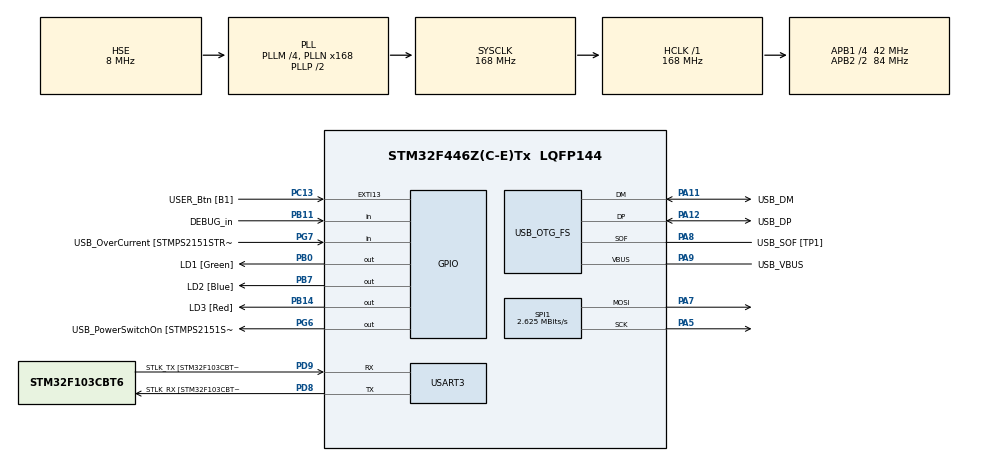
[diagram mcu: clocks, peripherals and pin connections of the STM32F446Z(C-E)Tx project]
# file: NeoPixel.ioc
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Dma.Request0=SPI1_TX
Dma.SPI1_TX.0.Direction=DMA_MEMORY_TO_PERIPH
Dma.SPI1_TX.0.FIFOMode=DMA_FIFOMODE_DISABLE
Dma.SPI1_TX.0.Instance=DMA2_Stream3
Dma.SPI1_TX.0.MemDataAlignment=DMA_MDATAALIGN_BYTE
Dma.SPI1_TX.0.MemInc=DMA_MINC_ENABLE
Dma.SPI1_TX.0.Mode=DMA_NORMAL
Dma.SPI1_TX.0.PeriphDataAlignment=DMA_PDATAALIGN_BYTE
Dma.SPI1_TX.0.PeriphInc=DMA_PINC_DISABLE
Dma.SPI1_TX.0.Priority=DMA_PRIORITY_LOW
Mcu.Family=STM32F4
Mcu.Name=STM32F446Z(C-E)Tx
Mcu.Package=LQFP144
NVIC.DMA2_Stream3_IRQn=true\:0\:0\:false\:false\:true\:false\:true
NVIC.EXTI15_10_IRQn=true\:0\:0\:true\:false\:true\:true\:true
NVIC.PriorityGroup=NVIC_PRIORITYGROUP_4
NVIC.TIM2_IRQn=true\:1\:0\:true\:false\:true\:true\:true
PA10.GPIO_Label=USB_ID
PA10.Signal=USB_OTG_FS_ID
PA11.GPIO_Label=USB_DM
PA11.Mode=Device_Only
PA11.Signal=USB_OTG_FS_DM
PA12.GPIO_Label=USB_DP
PA12.Mode=Device_Only
PA12.Signal=USB_OTG_FS_DP
PA13.GPIO_Label=TMS
PA13.Mode=Serial_Wire
PA13.Signal=SYS_JTMS-SWDIO
PA14.GPIO_Label=TCK
PA14.Mode=Serial_Wire
PA14.Signal=SYS_JTCK-SWCLK
PA5.Mode=TX_Only_Simplex_Unidirect_Master
PA5.Signal=SPI1_SCK
PA7.Mode=TX_Only_Simplex_Unidirect_Master
PA7.Signal=SPI1_MOSI
PA8.GPIO_Label=USB_SOF [TP1]
PA8.Mode=Activate_SOF_FS
PA8.Signal=USB_OTG_FS_SOF
PA9.GPIO_Label=USB_VBUS
PA9.Mode=Activate_VBUS
PA9.Signal=USB_OTG_FS_VBUS
PB0.GPIO_Label=LD1 [Green]
PB0.Signal=GPIO_Output
PB11.GPIO_Label=DEBUG_in
PB11.Signal=GPIO_Input
PB14.GPIO_Label=LD3 [Red]
PB14.Signal=GPIO_Output
PB7.GPIO_Label=LD2 [Blue]
PB7.Signal=GPIO_Output
PC13.GPIO_Label=USER_Btn [B1]
PC13.Signal=GPXTI13
PC14-OSC32_IN.Mode=LSE-External-Oscillator
PC14-OSC32_IN.Signal=RCC_OSC32_IN
PC15-OSC32_OUT.Mode=LSE-External-Oscillator
PC15-OSC32_OUT.Signal=RCC_OSC32_OUT
PD8.GPIO_Label=STLK_RX [STM32F103CBT6_PA3]
PD8.Mode=Asynchronous
PD8.Signal=USART3_TX
PD9.GPIO_Label=STLK_TX [STM32F103CBT6_PA2]
PD9.Mode=Asynchronous
PD9.Signal=USART3_RX
PG6.GPIO_Label=USB_PowerSwitchOn [STMPS2151STR_EN]
PG6.Signal=GPIO_Output
PG7.GPIO_Label=USB_OverCurrent [STMPS2151STR_FAULT]
PG7.Signal=GPIO_Input
PH0-OSC_IN.GPIO_Label=MCO [STM32F103CBT6_PA8]
PH0-OSC_IN.Mode=HSE-External-Clock-Source
PH0-OSC_IN.Signal=RCC_OSC_IN
PH1-OSC_OUT.Mode=HSE-External-Clock-Source
PH1-OSC_OUT.Signal=RCC_OSC_OUT
ProjectManager.HeapSize=0x200
ProjectManager.StackSize=0x400
ProjectManager.TargetToolchain=STM32CubeIDE
RCC.48MHZClocksFreq_Value=24000000
RCC.AHBFreq_Value=168000000
RCC.APB1CLKDivider=RCC_HCLK_DIV4
RCC.APB1Freq_Value=42000000
RCC.APB1TimFreq_Value=84000000
RCC.APB2CLKDivider=RCC_HCLK_DIV2
RCC.APB2Freq_Value=84000000
RCC.APB2TimFreq_Value=168000000
RCC.CortexFreq_Value=168000000
RCC.HCLKFreq_Value=168000000
RCC.HSE_VALUE=8000000
RCC.HSI_VALUE=16000000
RCC.PLLM=4
RCC.PLLMUL=RCC_PLL_MUL9
RCC.PLLN=168
RCC.PLLQ=7
RCC.PRESCALERUSB=RCC_USBCLKSOURCE_PLL_DIV1_5
RCC.SYSCLKFreq_VALUE=168000000
RCC.SYSCLKSource=RCC_SYSCLKSOURCE_PLLCLK
RCC.SYSCLKSourceVirtual=RCC_SYSCLKSOURCE_PLLCLK
RCC.USBFreq_Value=48000000
RCC.VCOOutputFreq_Value=336000000
SPI1.BaudRatePrescaler=SPI_BAUDRATEPRESCALER_32
SPI1.CalculateBaudRate=2.625 MBits/s
SPI1.DataSize=SPI_DATASIZE_8BIT
SPI1.Direction=SPI_DIRECTION_2LINES
SPI1.Mode=SPI_MODE_MASTER
SPI1.VirtualType=VM_MASTER
TIM2.AutoReloadPreload=TIM_AUTORELOAD_PRELOAD_ENABLE
TIM2.Period=8400
USART3.VirtualMode=VM_ASYNC
USB_OTG_FS.VirtualMode=Device_Only
VP_TIM2_VS_ClockSourceINT.Mode=Internal
board=NUCLEO-F446ZE

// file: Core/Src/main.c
/* USER CODE BEGIN Header */
/**
  ******************************************************************************
  * @file           : main.c
  * @brief          : Main program body
  ******************************************************************************
  * @attention
  *
  * <h2><center>&copy; Copyright (c) 2020 STMicroelectronics.
  * All rights reserved.</center></h2>
  *
  * This software component is licensed by ST under BSD 3-Clause license,
  * the "License"; You may not use this file except in compliance with the
  * License. You may obtain a copy of the License at:
  *                        opensource.org/licenses/BSD-3-Clause
  *
  ******************************************************************************
  */
/* USER CODE END Header */

#include "main.h"

/* USER CODE BEGIN Includes */
#include "NeoPixel.h"
/* USER CODE END Includes */

/* USER CODE BEGIN PD */
#define NUM_PIXEL	35
/* USER CODE END PD */

SPI_HandleTypeDef hspi1;
DMA_HandleTypeDef hdma_spi1_tx;

TIM_HandleTypeDef htim2;

UART_HandleTypeDef huart3;

PCD_HandleTypeDef hpcd_USB_OTG_FS;

/* USER CODE BEGIN PV */
s_NeoPixel_t *sp_NeoPixel_head = NULL;
s_NeoPixel_buffer_t s_NeoPixel_buffer;
/* USER CODE END PV */

void SystemClock_Config(void);
static void MX_GPIO_Init(void);
static void MX_DMA_Init(void);
static void MX_USART3_UART_Init(void);
static void MX_USB_OTG_FS_PCD_Init(void);
static void MX_SPI1_Init(void);
static void MX_TIM2_Init(void);

int main(void)
{

  /* MCU Configuration--------------------------------------------------------*/

  /* Reset of all peripherals, Initializes the Flash interface and the Systick. */
  HAL_Init();

  /* Configure the system clock */
  SystemClock_Config();

  /* Initialize all configured peripherals */
  MX_GPIO_Init();
  MX_DMA_Init();
  MX_USART3_UART_Init();
  MX_USB_OTG_FS_PCD_Init();
  MX_SPI1_Init();
  MX_TIM2_Init();
  /* USER CODE BEGIN 2 */
  e_NeoPixel_init(NUM_PIXEL, e_SK6812_WWA, &sp_NeoPixel_head, &s_NeoPixel_buffer);
  e_NeoPixel_write(sp_NeoPixel_head, &s_NeoPixel_buffer);

  /* USER CODE END 2 */

  /* Infinite loop */
  /* USER CODE BEGIN WHILE */
  while (1)
  {
	  e_NeoPixel_write(sp_NeoPixel_head, &s_NeoPixel_buffer);
	  HAL_SPI_Transmit_DMA(&hspi1, s_NeoPixel_buffer.u8_Buffer, s_NeoPixel_buffer.size);
    /* USER CODE END WHILE */

  }
}

void SystemClock_Config(void)
{
  RCC_OscInitTypeDef RCC_OscInitStruct = {0};
  RCC_ClkInitTypeDef RCC_ClkInitStruct = {0};
  RCC_PeriphCLKInitTypeDef PeriphClkInitStruct = {0};

  /** Configure the main internal regulator output voltage
  */
  __HAL_RCC_PWR_CLK_ENABLE();
  __HAL_PWR_VOLTAGESCALING_CONFIG(PWR_REGULATOR_VOLTAGE_SCALE1);
  /** Initializes the CPU, AHB and APB busses clocks
  */
  RCC_OscInitStruct.OscillatorType = RCC_OSCILLATORTYPE_HSE;
  RCC_OscInitStruct.HSEState = RCC_HSE_BYPASS;
  RCC_OscInitStruct.PLL.PLLState = RCC_PLL_ON;
  RCC_OscInitStruct.PLL.PLLSource = RCC_PLLSOURCE_HSE;
  RCC_OscInitStruct.PLL.PLLM = 4;
  RCC_OscInitStruct.PLL.PLLN = 168;
  RCC_OscInitStruct.PLL.PLLP = RCC_PLLP_DIV2;
  RCC_OscInitStruct.PLL.PLLQ = 7;
  RCC_OscInitStruct.PLL.PLLR = 2;
  if (HAL_RCC_OscConfig(&RCC_OscInitStruct) != HAL_OK)
  {
    Error_Handler();
  }
  /** Initializes the CPU, AHB and APB busses clocks
  */
  RCC_ClkInitStruct.ClockType = RCC_CLOCKTYPE_HCLK|RCC_CLOCKTYPE_SYSCLK
                              |RCC_CLOCKTYPE_PCLK1|RCC_CLOCKTYPE_PCLK2;
  RCC_ClkInitStruct.SYSCLKSource = RCC_SYSCLKSOURCE_PLLCLK;
  RCC_ClkInitStruct.AHBCLKDivider = RCC_SYSCLK_DIV1;
  RCC_ClkInitStruct.APB1CLKDivider = RCC_HCLK_DIV4;
  RCC_ClkInitStruct.APB2CLKDivider = RCC_HCLK_DIV2;

  if (HAL_RCC_ClockConfig(&RCC_ClkInitStruct, FLASH_LATENCY_5) != HAL_OK)
  {
    Error_Handler();
  }
  PeriphClkInitStruct.PeriphClockSelection = RCC_PERIPHCLK_CLK48;
  PeriphClkInitStruct.Clk48ClockSelection = RCC_CLK48CLKSOURCE_PLLQ;
  if (HAL_RCCEx_PeriphCLKConfig(&PeriphClkInitStruct) != HAL_OK)
  {
    Error_Handler();
  }
}

static void MX_SPI1_Init(void)
{

  /* SPI1 parameter configuration*/
  hspi1.Instance = SPI1;
  hspi1.Init.Mode = SPI_MODE_MASTER;
  hspi1.Init.Direction = SPI_DIRECTION_2LINES;
  hspi1.Init.DataSize = SPI_DATASIZE_8BIT;
  hspi1.Init.CLKPolarity = SPI_POLARITY_LOW;
  hspi1.Init.CLKPhase = SPI_PHASE_1EDGE;
  hspi1.Init.NSS = SPI_NSS_SOFT;
  hspi1.Init.BaudRatePrescaler = SPI_BAUDRATEPRESCALER_32;
  hspi1.Init.FirstBit = SPI_FIRSTBIT_MSB;
  hspi1.Init.TIMode = SPI_TIMODE_DISABLE;
  hspi1.Init.CRCCalculation = SPI_CRCCALCULATION_DISABLE;
  hspi1.Init.CRCPolynomial = 10;
  if (HAL_SPI_Init(&hspi1) != HAL_OK)
  {
    Error_Handler();
  }

}

static void MX_TIM2_Init(void)
{

  TIM_ClockConfigTypeDef sClockSourceConfig = {0};
  TIM_MasterConfigTypeDef sMasterConfig = {0};

  htim2.Instance = TIM2;
  htim2.Init.Prescaler = 32;
  htim2.Init.CounterMode = TIM_COUNTERMODE_UP;
  htim2.Init.Period = 8400;
  htim2.Init.ClockDivision = TIM_CLOCKDIVISION_DIV1;
  htim2.Init.AutoReloadPreload = TIM_AUTORELOAD_PRELOAD_ENABLE;
  if (HAL_TIM_Base_Init(&htim2) != HAL_OK)
  {
    Error_Handler();
  }
  sClockSourceConfig.ClockSource = TIM_CLOCKSOURCE_INTERNAL;
  if (HAL_TIM_ConfigClockSource(&htim2, &sClockSourceConfig) != HAL_OK)
  {
    Error_Handler();
  }
  sMasterConfig.MasterOutputTrigger = TIM_TRGO_RESET;
  sMasterConfig.MasterSlaveMode = TIM_MASTERSLAVEMODE_DISABLE;
  if (HAL_TIMEx_MasterConfigSynchronization(&htim2, &sMasterConfig) != HAL_OK)
  {
    Error_Handler();
  }

}

static void MX_USART3_UART_Init(void)
{

  huart3.Instance = USART3;
  huart3.Init.BaudRate = 115200;
  huart3.Init.WordLength = UART_WORDLENGTH_8B;
  huart3.Init.StopBits = UART_STOPBITS_1;
  huart3.Init.Parity = UART_PARITY_NONE;
  huart3.Init.Mode = UART_MODE_TX_RX;
  huart3.Init.HwFlowCtl = UART_HWCONTROL_NONE;
  huart3.Init.OverSampling = UART_OVERSAMPLING_16;
  if (HAL_UART_Init(&huart3) != HAL_OK)
  {
    Error_Handler();
  }

}

static void MX_USB_OTG_FS_PCD_Init(void)
{

  hpcd_USB_OTG_FS.Instance = USB_OTG_FS;
  hpcd_USB_OTG_FS.Init.dev_endpoints = 6;
  hpcd_USB_OTG_FS.Init.speed = PCD_SPEED_FULL;
  hpcd_USB_OTG_FS.Init.dma_enable = DISABLE;
  hpcd_USB_OTG_FS.Init.phy_itface = PCD_PHY_EMBEDDED;
  hpcd_USB_OTG_FS.Init.Sof_enable = ENABLE;
  hpcd_USB_OTG_FS.Init.low_power_enable = DISABLE;
  hpcd_USB_OTG_FS.Init.lpm_enable = DISABLE;
  hpcd_USB_OTG_FS.Init.vbus_sensing_enable = ENABLE;
  hpcd_USB_OTG_FS.Init.use_dedicated_ep1 = DISABLE;
  if (HAL_PCD_Init(&hpcd_USB_OTG_FS) != HAL_OK)
  {
    Error_Handler();
  }

}

static void MX_DMA_Init(void)
{

  /* DMA controller clock enable */
  __HAL_RCC_DMA2_CLK_ENABLE();

  /* DMA interrupt init */
  /* DMA2_Stream3_IRQn interrupt configuration */
  HAL_NVIC_SetPriority(DMA2_Stream3_IRQn, 0, 0);
  HAL_NVIC_EnableIRQ(DMA2_Stream3_IRQn);

}

static void MX_GPIO_Init(void)
{
  GPIO_InitTypeDef GPIO_InitStruct = {0};

  /* GPIO Ports Clock Enable */
  __HAL_RCC_GPIOC_CLK_ENABLE();
  __HAL_RCC_GPIOH_CLK_ENABLE();
  __HAL_RCC_GPIOA_CLK_ENABLE();
  __HAL_RCC_GPIOB_CLK_ENABLE();
  __HAL_RCC_GPIOD_CLK_ENABLE();
  __HAL_RCC_GPIOG_CLK_ENABLE();

  /*Configure GPIO pin Output Level */
  HAL_GPIO_WritePin(GPIOB, LD1_Pin|LD3_Pin|LD2_Pin, GPIO_PIN_RESET);

  /*Configure GPIO pin Output Level */
  HAL_GPIO_WritePin(USB_PowerSwitchOn_GPIO_Port, USB_PowerSwitchOn_Pin, GPIO_PIN_RESET);

  /*Configure GPIO pin : USER_Btn_Pin */
  GPIO_InitStruct.Pin = USER_Btn_Pin;
  GPIO_InitStruct.Mode = GPIO_MODE_IT_RISING;
  GPIO_InitStruct.Pull = GPIO_NOPULL;
  HAL_GPIO_Init(USER_Btn_GPIO_Port, &GPIO_InitStruct);

  /*Configure GPIO pins : LD1_Pin LD3_Pin LD2_Pin */
  GPIO_InitStruct.Pin = LD1_Pin|LD3_Pin|LD2_Pin;
  GPIO_InitStruct.Mode = GPIO_MODE_OUTPUT_PP;
  GPIO_InitStruct.Pull = GPIO_NOPULL;
  GPIO_InitStruct.Speed = GPIO_SPEED_FREQ_LOW;
  HAL_GPIO_Init(GPIOB, &GPIO_InitStruct);

  /*Configure GPIO pin : DEBUG_in_Pin */
  GPIO_InitStruct.Pin = DEBUG_in_Pin;
  GPIO_InitStruct.Mode = GPIO_MODE_INPUT;
  GPIO_InitStruct.Pull = GPIO_NOPULL;
  HAL_GPIO_Init(DEBUG_in_GPIO_Port, &GPIO_InitStruct);

  /*Configure GPIO pin : USB_PowerSwitchOn_Pin */
  GPIO_InitStruct.Pin = USB_PowerSwitchOn_Pin;
  GPIO_InitStruct.Mode = GPIO_MODE_OUTPUT_PP;
  GPIO_InitStruct.Pull = GPIO_NOPULL;
  GPIO_InitStruct.Speed = GPIO_SPEED_FREQ_LOW;
  HAL_GPIO_Init(USB_PowerSwitchOn_GPIO_Port, &GPIO_InitStruct);

  /*Configure GPIO pin : USB_OverCurrent_Pin */
  GPIO_InitStruct.Pin = USB_OverCurrent_Pin;
  GPIO_InitStruct.Mode = GPIO_MODE_INPUT;
  GPIO_InitStruct.Pull = GPIO_NOPULL;
  HAL_GPIO_Init(USB_OverCurrent_GPIO_Port, &GPIO_InitStruct);

  /* EXTI interrupt init*/
  HAL_NVIC_SetPriority(EXTI15_10_IRQn, 0, 0);
  HAL_NVIC_EnableIRQ(EXTI15_10_IRQn);

}

/* USER CODE BEGIN 4 */
void HAL_GPIO_EXTI_Callback(uint16_t GPIO_Pin){
	static uint8_t u8_USER_Btn_iter = 0;

	switch(GPIO_Pin){
		case USER_Btn_Pin:
			switch(u8_USER_Btn_iter){
				case 0:
					sp_NeoPixel_head->u8_colors[0] = 0x0F;
					sp_NeoPixel_head->u8_colors[1] = 0x00;
					sp_NeoPixel_head->u8_colors[2] = 0x00;
					sp_NeoPixel_head->u8_colors[3] = 0x00;
					e_NeoPixel_fadeChain(sp_NeoPixel_head, sp_NeoPixel_head->u8_colors);

					u8_USER_Btn_iter++;
					break;
				case 1:
					sp_NeoPixel_head->u8_colors[0] = 0x00;
					sp_NeoPixel_head->u8_colors[1] = 0x0F;
					sp_NeoPixel_head->u8_colors[2] = 0x00;
					sp_NeoPixel_head->u8_colors[3] = 0x00;
					e_NeoPixel_fadeChain(sp_NeoPixel_head, sp_NeoPixel_head->u8_colors);

					u8_USER_Btn_iter++;
					break;
				case 2:
					sp_NeoPixel_head->u8_colors[0] = 0x00;
					sp_NeoPixel_head->u8_colors[1] = 0x00;
					sp_NeoPixel_head->u8_colors[2] = 0x0F;
					sp_NeoPixel_head->u8_colors[3] = 0x00;
					e_NeoPixel_fadeChain(sp_NeoPixel_head, sp_NeoPixel_head->u8_colors);

					u8_USER_Btn_iter++;
					break;
				case 3:
					sp_NeoPixel_head->u8_colors[0] = 0x00;
					sp_NeoPixel_head->u8_colors[1] = 0x00;
					sp_NeoPixel_head->u8_colors[2] = 0x00;
					sp_NeoPixel_head->u8_colors[3] = 0x0F;
					e_NeoPixel_fadeChain(sp_NeoPixel_head, sp_NeoPixel_head->u8_colors);

					u8_USER_Btn_iter++;
					break;
				default:
					u8_USER_Btn_iter = 0;
					break;
			}
			HAL_TIM_Base_Start_IT(&htim2);
			break;
		default:
			break;
	}

}

void HAL_TIM_PeriodElapsedCallback(TIM_HandleTypeDef *htim){
	if (htim == &htim2) {
		if(e_NeoPixel_fadeChain(sp_NeoPixel_head, NULL) == e_NeoPixel_OK){
			HAL_TIM_Base_Stop_IT(htim);
		}
	}
}
/* USER CODE END 4 */

void Error_Handler(void)
{
}

/************************ (C) COPYRIGHT STMicroelectronics *****END OF FILE****/
